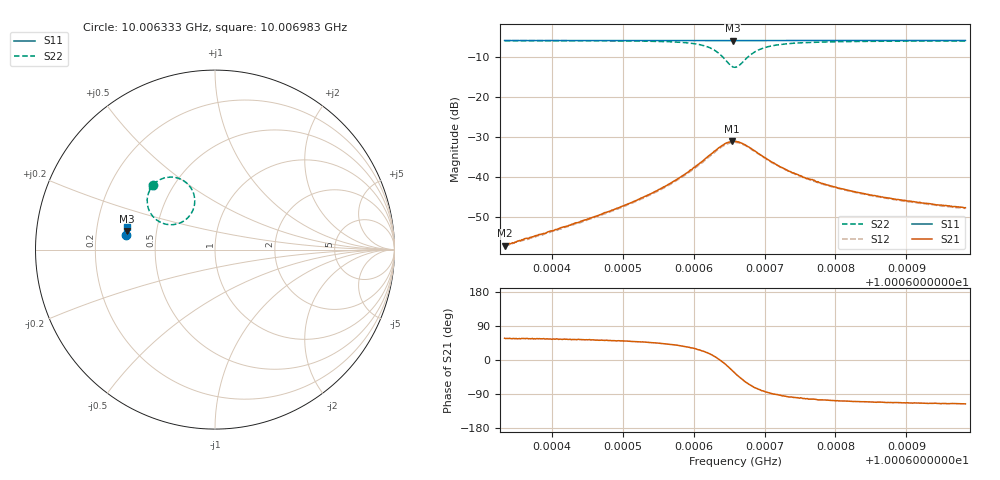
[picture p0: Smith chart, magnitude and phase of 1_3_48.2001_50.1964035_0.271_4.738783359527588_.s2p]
#  HZ  S  RI  R  50.00
! Rohde & Schwarz Vector Network Analyzer
! Rohde-Schwarz,ZNB20-2Port,1311601062101988,3.16
! Created: UTC 3/20/2024, 11:36:03 AM
! freq[Hz]  re:S11  im:S11  re:S21  im:S21  re:S12  im:S12  re:S22  im:S22
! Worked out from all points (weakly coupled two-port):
!   401 points, 10.006333 GHz to 10.006983 GHz, reference 50 ohm
!   highest |S21| = -31.07 dB at 10.006653 GHz (marker M1); lowest = -57.1 dB at 10.006333 GHz (marker M2)
!   lowest |S11| = -6.0 dB at 10.006655 GHz (marker M3), VSWR 3.00, Z = 16.8 + j4.64 ohm
!   |S11| at or under -10 dB: nowhere
!   |S22| runs from -12.7 to -6.0 dB; largest |S21 - S12| = 0.0022
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1.0006333e10  -0.4953 0.0837  0.00075 0.00118  0.000711 0.00118  -0.3445 0.3627
1.00064419e10  -0.4943 0.091  0.00167 0.0023  0.00152 0.00231  -0.3289 0.376
1.00064972e10  -0.4935 0.0947  0.00273 0.0033  0.00249 0.00335  -0.3142 0.3855
1.00065509e10  -0.4928 0.0983  0.00503 0.0049  0.00464 0.00501  -0.2868 0.3977
1.00065883e10  -0.4922 0.1009  0.00898 0.00634  0.00841 0.00658  -0.2451 0.4042
1.00066175e10  -0.491 0.103  0.0163 0.00598  0.0153 0.0066  -0.178 0.3857
1.00066338e10  -0.49 0.1037  0.0227 0.00146  0.0217 0.00272  -0.1281 0.3334
1.00066452e10  -0.4895 0.1038  0.0258 -0.00542  0.0251 -0.00378  -0.1133 0.2614
1.00066533e10  -0.4893 0.1037  0.0251 -0.0124  0.025 -0.0103  -0.1322 0.2019
1.00066549e10  -0.4893 0.1034  0.0243 -0.0135  0.0245 -0.0114  -0.1399 0.1909
1.00066582e10  -0.4893 0.1033  0.0229 -0.016  0.0234 -0.0138  -0.1576 0.1717
1.00066631e10  -0.4895 0.1034  0.0201 -0.0187  0.0208 -0.0169  -0.1898 0.1508
1.00066728e10  -0.4899 0.1036  0.0134 -0.0213  0.0146 -0.02  -0.2574 0.1392
1.00066858e10  -0.4906 0.1044  0.00624 -0.0203  0.00755 -0.0195  -0.3225 0.1631
1.00066988e10  -0.4909 0.1053  0.00242 -0.0176  0.00327 -0.0172  -0.3555 0.1973
1.00067151e10  -0.4909 0.1066  -0.000135 -0.0146  0.000582 -0.0145  -0.3725 0.2332
1.00067362e10  -0.491 0.1083  -0.00153 -0.0116  -0.000923 -0.0114  -0.378 0.2654
1.00067671e10  -0.4907 0.1106  -0.0021 -0.0091  -0.00169 -0.00884  -0.376 0.294
1.00068143e10  -0.4902 0.1137  -0.00215 -0.00662  -0.00186 -0.00661  -0.3694 0.3181
1.0006876e10  -0.4893 0.1178  -0.00208 -0.00507  -0.00177 -0.00507  -0.3614 0.3354
1.00069411e10  -0.4885 0.122  -0.00185 -0.00415  -0.00166 -0.00416  -0.3548 0.3464
1.00069833e10  -0.4879 0.1247  -0.00181 -0.00375  -0.00157 -0.00374  -0.3511 0.3518
